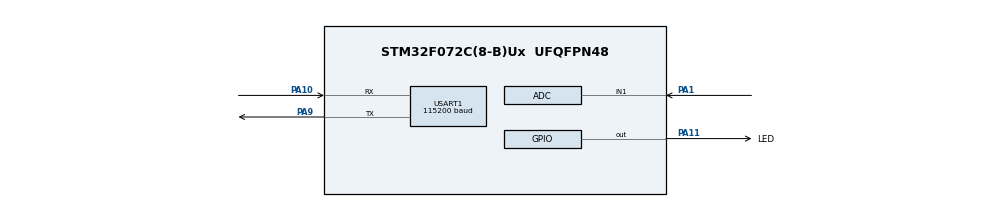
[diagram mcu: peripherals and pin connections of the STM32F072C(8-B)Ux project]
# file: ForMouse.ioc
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ADC.SamplingTime=ADC_SAMPLETIME_239CYCLES_5
Mcu.Family=STM32F0
Mcu.Name=STM32F072C(8-B)Ux
Mcu.Package=UFQFPN48
NVIC.USART1_IRQn=true\:0\:0\:false\:false\:true\:true\:true
PA1.Mode=IN1
PA1.Signal=ADC_IN1
PA10.Mode=Asynchronous
PA10.Signal=USART1_RX
PA11.GPIO_Label=LED
PA11.Signal=GPIO_Output
PA13.Mode=Serial_Wire
PA13.Signal=SYS_SWDIO
PA14.Mode=Serial_Wire
PA14.Signal=SYS_SWCLK
PA9.Mode=Asynchronous
PA9.Signal=USART1_TX
ProjectManager.HeapSize=0x200
ProjectManager.StackSize=0x400
ProjectManager.TargetToolchain=MDK-ARM V5
USART1.BaudRate=115200
USART1.SwapParam=ADVFEATURE_SWAP_ENABLE
USART1.VirtualMode-Asynchronous=VM_ASYNC
board=custom

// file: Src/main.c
/* USER CODE BEGIN Header */
/**
  ******************************************************************************
  * @file           : main.c
  * @brief          : Main program body
  ******************************************************************************
  * @attention
  *
  * <h2><center>&copy; Copyright (c) 2020 STMicroelectronics.
  * All rights reserved.</center></h2>
  *
  * This software component is licensed by ST under BSD 3-Clause license,
  * the "License"; You may not use this file except in compliance with the
  * License. You may obtain a copy of the License at:
  *                        opensource.org/licenses/BSD-3-Clause
  *
  ******************************************************************************
  */
/* USER CODE END Header */

#include "main.h"
#include "adc.h"
#include "usart.h"
#include "gpio.h"

/* USER CODE BEGIN PD */
#define BUFFSIZE 50
/* USER CODE END PD */

void SystemClock_Config(void);

/* USER CODE BEGIN 0 */
uint16_t AD_Value = 0, AD_Zero;
uint32_t Voltage = 0, VoltageZero, PressValue = 0;
int32_t  PressZero=0;
uint32_t ToggleCtrl;
/* USER CODE END 0 */

int main(void)
{
  /* USER CODE BEGIN 1 */
	uint16_t i,count;
	uint32_t datatemp;
  /* USER CODE END 1 */

  /* MCU Configuration--------------------------------------------------------*/

  /* Reset of all peripherals, Initializes the Flash interface and the Systick. */
  HAL_Init();

  /* Configure the system clock */
  SystemClock_Config();

  /* USER CODE BEGIN SysInit */
	HAL_Delay(100);//延时100ms保证时钟稳定
  /* USER CODE END SysInit */

  /* Initialize all configured peripherals */
  MX_GPIO_Init();
  MX_ADC_Init();
  MX_USART1_UART_Init();
  /* USER CODE BEGIN 2 */
	//printf("System Ready\r\nver:0.0.0.1\r\n");
	datatemp = 0;
	count = 0;
	for(i=0;i<10;i++)
	{
		HAL_ADC_Start(&hadc);
		HAL_ADC_PollForConversion(&hadc, 50);
		if(HAL_IS_BIT_SET(HAL_ADC_GetState(&hadc), HAL_ADC_STATE_REG_EOC))
		{
			datatemp += HAL_ADC_GetValue(&hadc);
			count++;
		}
		HAL_Delay(10);
	}
	AD_Zero = datatemp/count;
	VoltageZero = AD_Zero*33000/4096;  //单位:0.1mv
	PressZero = 1000 - (VoltageZero-2000)*5000/25000;//默认校准初始值为100Kpa;
	if(PressZero >= 1000 || (PressZero <= -500))//初始值错误则发起软件复位
	{
		NVIC_SystemReset();
	}
  /* USER CODE END 2 */

  /* Infinite loop */
  /* USER CODE BEGIN WHILE */
  while (1)
  {
		datatemp = 0;
		count = 0;
		for(i=0;i<5;i++)
		{
			HAL_ADC_Start(&hadc);
			HAL_ADC_PollForConversion(&hadc, 50);
			if(HAL_IS_BIT_SET(HAL_ADC_GetState(&hadc), HAL_ADC_STATE_REG_EOC))
			{
				datatemp += HAL_ADC_GetValue(&hadc);
				count++;
			}
		}
		AD_Value = datatemp/count;
		Voltage = AD_Value*33000/4096;  //单位:0.1mv
		if(Voltage < 2000)
		{
			Voltage = 2000;
		}
		if(Voltage > 27000)
		{
			Voltage = 27000;
		}
		PressValue =PressZero + (Voltage-2000)*5000/25000; //单位:0.1Kpa

		//printf("%5.3f\n", Force_Value);
		printf("%d.%d\n", PressValue/10,PressValue%10);
		//HAL_Delay(100);

		ToggleCtrl++;
		if(ToggleCtrl >= 250)
		{
			ToggleCtrl = 0;
			HAL_GPIO_TogglePin(LED_GPIO_Port, LED_Pin);
		}
    /* USER CODE END WHILE */

  }
}

void SystemClock_Config(void)
{
  RCC_OscInitTypeDef RCC_OscInitStruct = {0};
  RCC_ClkInitTypeDef RCC_ClkInitStruct = {0};
  RCC_PeriphCLKInitTypeDef PeriphClkInit = {0};

  /** Initializes the CPU, AHB and APB busses clocks
  */
  RCC_OscInitStruct.OscillatorType = RCC_OSCILLATORTYPE_HSI|RCC_OSCILLATORTYPE_HSI14;
  RCC_OscInitStruct.HSIState = RCC_HSI_ON;
  RCC_OscInitStruct.HSI14State = RCC_HSI14_ON;
  RCC_OscInitStruct.HSICalibrationValue = RCC_HSICALIBRATION_DEFAULT;
  RCC_OscInitStruct.HSI14CalibrationValue = 16;
  RCC_OscInitStruct.PLL.PLLState = RCC_PLL_NONE;
  if (HAL_RCC_OscConfig(&RCC_OscInitStruct) != HAL_OK)
  {
    Error_Handler();
  }
  /** Initializes the CPU, AHB and APB busses clocks
  */
  RCC_ClkInitStruct.ClockType = RCC_CLOCKTYPE_HCLK|RCC_CLOCKTYPE_SYSCLK
                              |RCC_CLOCKTYPE_PCLK1;
  RCC_ClkInitStruct.SYSCLKSource = RCC_SYSCLKSOURCE_HSI;
  RCC_ClkInitStruct.AHBCLKDivider = RCC_SYSCLK_DIV1;
  RCC_ClkInitStruct.APB1CLKDivider = RCC_HCLK_DIV1;

  if (HAL_RCC_ClockConfig(&RCC_ClkInitStruct, FLASH_LATENCY_0) != HAL_OK)
  {
    Error_Handler();
  }
  PeriphClkInit.PeriphClockSelection = RCC_PERIPHCLK_USART1;
  PeriphClkInit.Usart1ClockSelection = RCC_USART1CLKSOURCE_PCLK1;
  if (HAL_RCCEx_PeriphCLKConfig(&PeriphClkInit) != HAL_OK)
  {
    Error_Handler();
  }
}

void Error_Handler(void)
{
}

/************************ (C) COPYRIGHT STMicroelectronics *****END OF FILE****/
